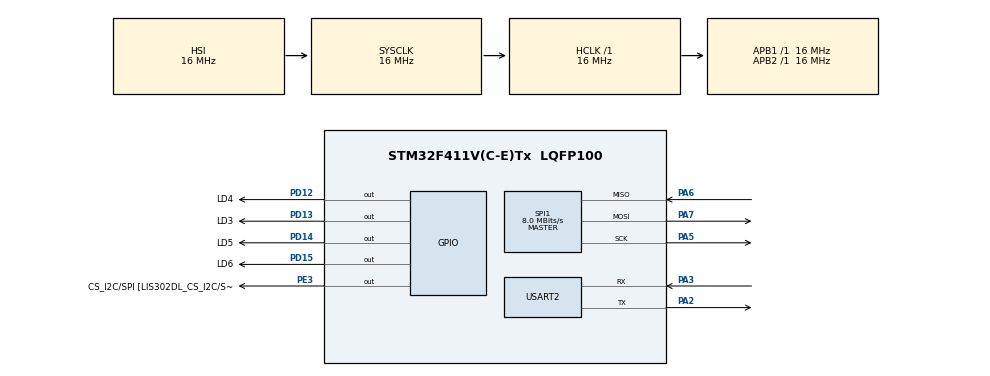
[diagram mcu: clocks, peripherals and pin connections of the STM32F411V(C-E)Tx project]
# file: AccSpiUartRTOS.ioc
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FREERTOS.BinarySemaphores01=Semaphore4LedsOn,Dynamic,NULL;SemaphoreDataRequest,Dynamic,NULL
FREERTOS.Queues01=QueueAccData,8,LIS302DL_DataScaled_t,0,Dynamic,NULL,NULL;QueueUartRequestData,8,uint8_t,0,Dynamic,NULL,NULL;QueueTransmitData,8,LIS302DL_DataScaled_t,0,Dynamic,NULL,NULL;QueueLedTilt,8,Led_Tilt_t,0,Dynamic,NULL,NULL
FREERTOS.Tasks01=MainTask,24,256,StartMainTask,Default,NULL,Dynamic,NULL,NULL;AccTask,24,128,StartAccTask,Default,NULL,Dynamic,NULL,NULL;UartTask,24,256,StartUartTask,Default,NULL,Dynamic,NULL,NULL;LedTask,8,128,StartLedTask,Default,NULL,Dynamic,NULL,NULL
Mcu.Family=STM32F4
Mcu.Name=STM32F411V(C-E)Tx
Mcu.Package=LQFP100
NVIC.PriorityGroup=NVIC_PRIORITYGROUP_4
NVIC.TIM1_UP_TIM10_IRQn=true\:15\:0\:false\:false\:true\:false\:false\:true
NVIC.TimeBase=TIM1_UP_TIM10_IRQn
NVIC.TimeBaseIP=TIM10
NVIC.USART2_IRQn=true\:5\:0\:false\:true\:true\:1\:true\:true\:true
PA2.Mode=Asynchronous
PA2.Signal=USART2_TX
PA3.Mode=Asynchronous
PA3.Signal=USART2_RX
PA5.Mode=Full_Duplex_Master
PA5.Signal=SPI1_SCK
PA6.Mode=Full_Duplex_Master
PA6.Signal=SPI1_MISO
PA7.Mode=Full_Duplex_Master
PA7.Signal=SPI1_MOSI
PD12.GPIO_Label=LD4
PD12.Signal=GPIO_Output
PD13.GPIO_Label=LD3
PD13.Signal=GPIO_Output
PD14.GPIO_Label=LD5
PD14.Signal=GPIO_Output
PD15.GPIO_Label=LD6
PD15.Signal=GPIO_Output
PE3.GPIO_Label=CS_I2C/SPI [LIS302DL_CS_I2C/SPI]
PE3.GPIO_Speed=GPIO_SPEED_FREQ_HIGH
PE3.PinState=GPIO_PIN_SET
PE3.Signal=GPIO_Output
ProjectManager.HeapSize=0x200
ProjectManager.StackSize=0x400
ProjectManager.TargetToolchain=STM32CubeIDE
RCC.AHBFreq_Value=16000000
RCC.APB1Freq_Value=16000000
RCC.APB2Freq_Value=16000000
RCC.CortexFreq_Value=16000000
RCC.HSE_VALUE=25000000
RCC.HSI_VALUE=16000000
RCC.LSE_VALUE=32768
RCC.SYSCLKFreq_VALUE=16000000
RCC.VCOOutputFreq_Value=192000000
SPI1.CLKPhase=SPI_PHASE_2EDGE
SPI1.CLKPolarity=SPI_POLARITY_HIGH
SPI1.CalculateBaudRate=8.0 MBits/s
SPI1.Direction=SPI_DIRECTION_2LINES
SPI1.Mode=SPI_MODE_MASTER
SPI1.VirtualType=VM_MASTER
USART2.VirtualMode=VM_ASYNC
VP_FREERTOS_VS_CMSIS_V2.Mode=CMSIS_V2
VP_SYS_VS_tim10.Mode=TIM10
board=custom

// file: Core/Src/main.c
/* USER CODE BEGIN Header */
/**
  ******************************************************************************
  * @file           : main.c
  * @brief          : Main program body
  ******************************************************************************
  * @attention
  *
  * <h2><center>&copy; Copyright (c) 2022 STMicroelectronics.
  * All rights reserved.</center></h2>
  *
  * This software component is licensed by ST under BSD 3-Clause license,
  * the "License"; You may not use this file except in compliance with the
  * License. You may obtain a copy of the License at:
  *                        opensource.org/licenses/BSD-3-Clause
  *
  ******************************************************************************
  */
/* USER CODE END Header */
#include "main.h"
#include "cmsis_os.h"
#include "spi.h"
#include "usart.h"
#include "gpio.h"

/* USER CODE BEGIN PV */
//static LIS302DL_InitTypeDef myAccel;
/* USER CODE END PV */

void SystemClock_Config(void);
void MX_FREERTOS_Init(void);
static void MX_NVIC_Init(void);

int main(void)
{

  /* MCU Configuration--------------------------------------------------------*/

  /* Reset of all peripherals, Initializes the Flash interface and the Systick. */
  HAL_Init();

  /* Configure the system clock */
  SystemClock_Config();

  /* Initialize all configured peripherals */
  MX_GPIO_Init();
  MX_USART2_UART_Init();
  MX_SPI1_Init();

  /* Initialize interrupts */
  MX_NVIC_Init();

  /* Init scheduler */
  osKernelInitialize();  /* Call init function for freertos objects (in freertos.c) */
  MX_FREERTOS_Init();
  /* Start scheduler */
  osKernelStart();

  /* We should never get here as control is now taken by the scheduler */
  /* Infinite loop */
  while (1)
  {

  }
}

void SystemClock_Config(void)
{
  RCC_OscInitTypeDef RCC_OscInitStruct = {0};
  RCC_ClkInitTypeDef RCC_ClkInitStruct = {0};

  /** Configure the main internal regulator output voltage
  */
  __HAL_RCC_PWR_CLK_ENABLE();
  __HAL_PWR_VOLTAGESCALING_CONFIG(PWR_REGULATOR_VOLTAGE_SCALE1);
  /** Initializes the RCC Oscillators according to the specified parameters
  * in the RCC_OscInitTypeDef structure.
  */
  RCC_OscInitStruct.OscillatorType = RCC_OSCILLATORTYPE_HSI;
  RCC_OscInitStruct.HSIState = RCC_HSI_ON;
  RCC_OscInitStruct.HSICalibrationValue = RCC_HSICALIBRATION_DEFAULT;
  RCC_OscInitStruct.PLL.PLLState = RCC_PLL_NONE;
  if (HAL_RCC_OscConfig(&RCC_OscInitStruct) != HAL_OK)
  {
    Error_Handler();
  }
  /** Initializes the CPU, AHB and APB buses clocks
  */
  RCC_ClkInitStruct.ClockType = RCC_CLOCKTYPE_HCLK|RCC_CLOCKTYPE_SYSCLK
                              |RCC_CLOCKTYPE_PCLK1|RCC_CLOCKTYPE_PCLK2;
  RCC_ClkInitStruct.SYSCLKSource = RCC_SYSCLKSOURCE_HSI;
  RCC_ClkInitStruct.AHBCLKDivider = RCC_SYSCLK_DIV1;
  RCC_ClkInitStruct.APB1CLKDivider = RCC_HCLK_DIV1;
  RCC_ClkInitStruct.APB2CLKDivider = RCC_HCLK_DIV1;

  if (HAL_RCC_ClockConfig(&RCC_ClkInitStruct, FLASH_LATENCY_0) != HAL_OK)
  {
    Error_Handler();
  }
}

/**
  * @brief NVIC Configuration.
  * @retval None
  */
static void MX_NVIC_Init(void)
{
  /* USART2_IRQn interrupt configuration */
  HAL_NVIC_SetPriority(USART2_IRQn, 5, 0);
  HAL_NVIC_EnableIRQ(USART2_IRQn);
}

void HAL_TIM_PeriodElapsedCallback(TIM_HandleTypeDef *htim)
{
  if (htim->Instance == TIM10) {
    HAL_IncTick();
  }
}

void Error_Handler(void)
{
  __disable_irq();
  while (1)
  {
  }
}

/************************ (C) COPYRIGHT STMicroelectronics *****END OF FILE****/

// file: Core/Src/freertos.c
/* USER CODE BEGIN Header */
/**
  ******************************************************************************
  * File Name          : freertos.c
  * Description        : Code for freertos applications
  ******************************************************************************
  * @attention
  *
  * <h2><center>&copy; Copyright (c) 2022 STMicroelectronics.
  * All rights reserved.</center></h2>
  *
  * This software component is licensed by ST under Ultimate Liberty license
  * SLA0044, the "License"; You may not use this file except in compliance with
  * the License. You may obtain a copy of the License at:
  *                             www.st.com/SLA0044
  *
  ******************************************************************************
  */
/* USER CODE END Header */

#include "FreeRTOS.h"
#include "task.h"
#include "main.h"
#include "cmsis_os.h"

/* USER CODE BEGIN Includes */
#include "usart.h"
#include "spi.h"
#include "printf.h"
#include "LIS302DL.h"
#include "Led.h"
#include "semphr.h"
#include "timers.h"

/* USER CODE END Includes */

/* USER CODE BEGIN Variables */
uint8_t ReciveBuffer;
uint8_t TransmitBuffer;

/* USER CODE END Variables */
/* Definitions for MainTask */
osThreadId_t MainTaskHandle;
const osThreadAttr_t MainTask_attributes = {
  .name = "MainTask",
  .stack_size = 256 * 4,
  .priority = (osPriority_t) osPriorityNormal,
};
/* Definitions for AccTask */
osThreadId_t AccTaskHandle;
const osThreadAttr_t AccTask_attributes = {
  .name = "AccTask",
  .stack_size = 128 * 4,
  .priority = (osPriority_t) osPriorityNormal,
};
/* Definitions for UartTask */
osThreadId_t UartTaskHandle;
const osThreadAttr_t UartTask_attributes = {
  .name = "UartTask",
  .stack_size = 256 * 4,
  .priority = (osPriority_t) osPriorityNormal,
};
/* Definitions for LedTask */
osThreadId_t LedTaskHandle;
const osThreadAttr_t LedTask_attributes = {
  .name = "LedTask",
  .stack_size = 128 * 4,
  .priority = (osPriority_t) osPriorityLow,
};
/* Definitions for QueueAccData */
osMessageQueueId_t QueueAccDataHandle;
const osMessageQueueAttr_t QueueAccData_attributes = {
  .name = "QueueAccData"
};
/* Definitions for QueueUartRequestData */
osMessageQueueId_t QueueUartRequestDataHandle;
const osMessageQueueAttr_t QueueUartRequestData_attributes = {
  .name = "QueueUartRequestData"
};
/* Definitions for QueueTransmitData */
osMessageQueueId_t QueueTransmitDataHandle;
const osMessageQueueAttr_t QueueTransmitData_attributes = {
  .name = "QueueTransmitData"
};
/* Definitions for QueueLedTilt */
osMessageQueueId_t QueueLedTiltHandle;
const osMessageQueueAttr_t QueueLedTilt_attributes = {
  .name = "QueueLedTilt"
};
/* Definitions for Semaphore4LedsOn */
osSemaphoreId_t Semaphore4LedsOnHandle;
const osSemaphoreAttr_t Semaphore4LedsOn_attributes = {
  .name = "Semaphore4LedsOn"
};
/* Definitions for SemaphoreDataRequest */
osSemaphoreId_t SemaphoreDataRequestHandle;
const osSemaphoreAttr_t SemaphoreDataRequest_attributes = {
  .name = "SemaphoreDataRequest"
};

void StartMainTask(void *argument);
void StartAccTask(void *argument);
void StartUartTask(void *argument);
void StartLedTask(void *argument);

void MX_FREERTOS_Init(void); /* (MISRA C 2004 rule 8.1) */

void MX_FREERTOS_Init(void) {

  /* Create the semaphores(s) */
  /* creation of Semaphore4LedsOn */
  Semaphore4LedsOnHandle = osSemaphoreNew(1, 1, &Semaphore4LedsOn_attributes);

  /* creation of SemaphoreDataRequest */
  SemaphoreDataRequestHandle = osSemaphoreNew(1, 1, &SemaphoreDataRequest_attributes);

  /* Create the queue(s) */
  /* creation of QueueAccData */
  QueueAccDataHandle = osMessageQueueNew (8, sizeof(LIS302DL_DataScaled_t), &QueueAccData_attributes);

  /* creation of QueueUartRequestData */
  QueueUartRequestDataHandle = osMessageQueueNew (8, sizeof(uint8_t), &QueueUartRequestData_attributes);

  /* creation of QueueTransmitData */
  QueueTransmitDataHandle = osMessageQueueNew (8, sizeof(LIS302DL_DataScaled_t), &QueueTransmitData_attributes);

  /* creation of QueueLedTilt */
  QueueLedTiltHandle = osMessageQueueNew (8, sizeof(Led_Tilt_t), &QueueLedTilt_attributes);

  /* Create the thread(s) */
  /* creation of MainTask */
  MainTaskHandle = osThreadNew(StartMainTask, NULL, &MainTask_attributes);

  /* creation of AccTask */
  AccTaskHandle = osThreadNew(StartAccTask, NULL, &AccTask_attributes);

  /* creation of UartTask */
  UartTaskHandle = osThreadNew(StartUartTask, NULL, &UartTask_attributes);

  /* creation of LedTask */
  LedTaskHandle = osThreadNew(StartLedTask, NULL, &LedTask_attributes);

}

void StartMainTask(void *argument)
{
  /* USER CODE BEGIN StartMainTask */
	LIS302DL_DataScaled_t _myData;
	Led_Tilt_t _myTilt;

	xSemaphoreTake(Semaphore4LedsOnHandle,0);

  /* Infinite loop */
  for(;;)
  {

	xSemaphoreGive(SemaphoreDataRequestHandle);
	xQueueReceive(QueueAccDataHandle, &_myData, 0);
	xQueueSendToBack(QueueTransmitDataHandle, &_myData, 0);
	_myTilt.x = _myData.x;
	_myTilt.y = _myData.y;
	xQueueSendToBack(QueueLedTiltHandle, &_myTilt, 0);

	vTaskDelay(100 / portTICK_PERIOD_MS);

  }
  /* USER CODE END StartMainTask */
}

void StartAccTask(void *argument)
{
  /* USER CODE BEGIN StartAccTask */
	LIS302DL_DataScaled_t _myData;
	LIS302DL_Init_t myAccel;

	taskENTER_CRITICAL();

	myAccel.dataRate=LIS302DL_DATARATE_400;
	myAccel.powerDown=LIS302DL_ACTIVE;
	myAccel.fullScale=LIS302DL_FULLSCALE_2;
	myAccel.enableAxes=LIS302DL_XYZ_ENABLE;
	myAccel.serialInterfaceMode=LIS302DL_SERIAL_INTERFACE_4WIRE;
	myAccel.rebootMemory=LIS302DL_BOOT_NORMAL_MODE;
	myAccel.filterConfig=LIS302DL_FILTERING_NONE;
	myAccel.interruptConfig=LIS302DL_INTERRUPT_NONE;

	LIS302DL_Init(&hspi1, &myAccel);

	//calibration acc to meas range
	LIS302DL_X_calibrate(4.0, -4.0);
	LIS302DL_Y_calibrate(4.0, -4.0);
	LIS302DL_Z_calibrate(4.0, -4.0);

	Led_Init();

	taskEXIT_CRITICAL();

  /* Infinite loop */
  for(;;)
  {

	  if (pdTRUE == xSemaphoreTake(SemaphoreDataRequestHandle, portMAX_DELAY))
	  {
		  _myData = LIS302DL_GetDataScaled();
		  xQueueSendToBack(QueueAccDataHandle, &_myData, 0);
	  }
  }
  /* USER CODE END StartAccTask */
}

void StartUartTask(void *argument)
{
  /* USER CODE BEGIN StartUartTask */

	LIS302DL_DataScaled_t _myData;
	uint8_t buffor;
	HAL_UART_Receive_IT(&huart2, &ReciveBuffer, 1);

	/* Infinite loop */
  for(;;)
  {

	  	if (pdPASS == xQueueReceive(QueueUartRequestDataHandle, &buffor, 0))
	  	{
	  		switch (buffor)
			{
	  			case '?':	printf("PC is asking for tilt data.\n\r");
	  						break;
	  			default	:	printf("Unrecognized request from PC.\n\r");
			}
	  		xSemaphoreGive(Semaphore4LedsOnHandle);
	  	}

		if (pdPASS == xQueueReceive(QueueTransmitDataHandle, &_myData, portMAX_DELAY))
		{
			printf("x:%4.1f y:%4.1f z:%4.1f\n\r", _myData.x, _myData.y, _myData.z);
		}
  }
  /* USER CODE END StartUartTask */
}

void StartLedTask(void *argument)
{
  /* USER CODE BEGIN StartLedTask */

	Led_Tilt_t _myTilt;
	/* Infinite loop */
	for(;;)
	{

	  if (pdTRUE == xSemaphoreTake(Semaphore4LedsOnHandle, 0))
	  {
		  Led_AllON();
		  vTaskDelay(500 / portTICK_PERIOD_MS);
	  }
	  else
	  {
		  xQueueReceive(QueueLedTiltHandle, &_myTilt, 0);
		  Led_ShowTilt(_myTilt);
		  vTaskDelay(100 / portTICK_PERIOD_MS);
	  }
	}
  /* USER CODE END StartLedTask */
}

/* USER CODE BEGIN Application */
void _putchar(char character)
{
	HAL_UART_Transmit(&huart2, (uint8_t*) &character, 1, 1000);

}

void HAL_UART_RxCpltCallback(UART_HandleTypeDef *huart)
{
	if (USART2 == huart->Instance)
	{
		xQueueSendToBackFromISR(QueueUartRequestDataHandle, &ReciveBuffer, NULL);
		HAL_UART_Receive_IT(&huart2, &ReciveBuffer, 1);
	}
}

/* USER CODE END Application */

/************************ (C) COPYRIGHT STMicroelectronics *****END OF FILE****/
